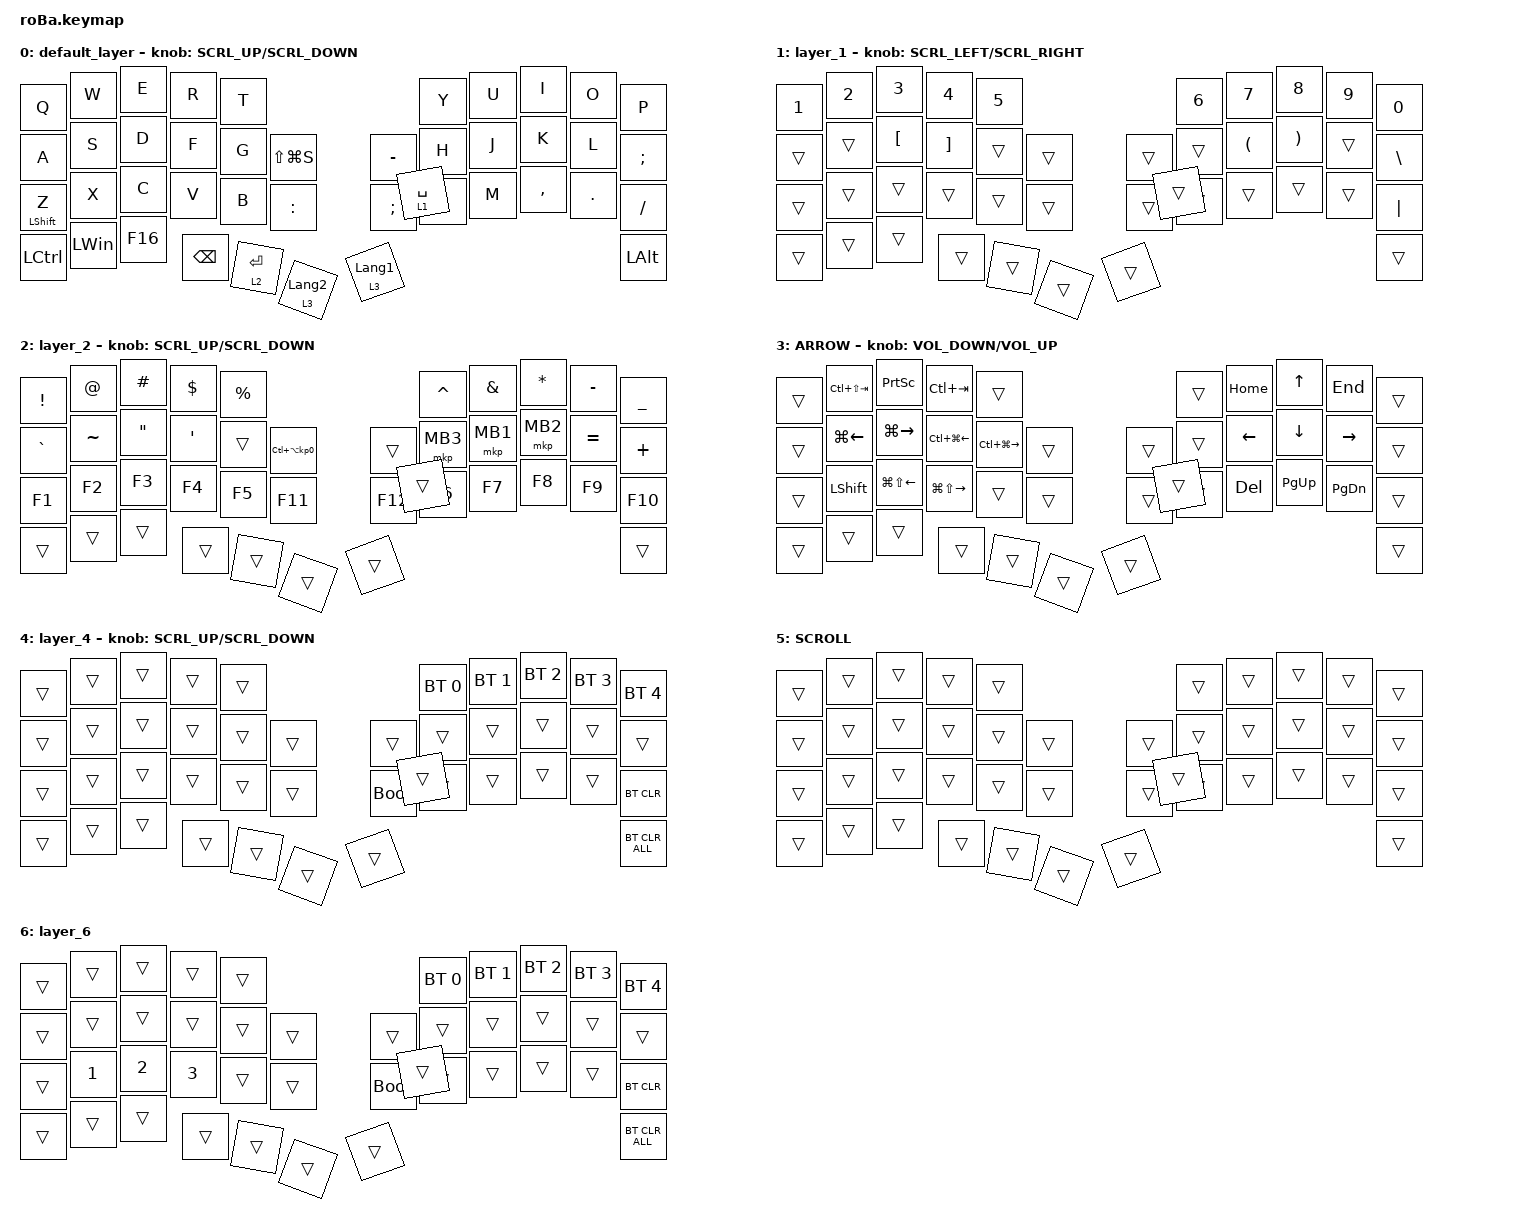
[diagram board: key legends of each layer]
#define ZMK_POINTING_DEFAULT_SCRL_VAL 100

#include <behaviors.dtsi>
#include <dt-bindings/zmk/bt.h>
#include <dt-bindings/zmk/keys.h>
#include <dt-bindings/zmk/pointing.h>

&mt {
    flavor = "balanced";
    quick-tap-ms = <0>;
};

&trackball {
    automouse-layer = <(-1)>;
    scroll-layers = <3>;

    // arrows {
    //     layers = <3>;
    //     bindings =
    //         <&kp RIGHT_ARROW>,
    //         <&kp LEFT_ARROW>,
    //         <&kp UP_ARROW>,
    //         <&kp DOWN_ARROW>;
    //     tick = <10>;
    //     wait-ms = <5>;
    //     tap-ms = <5>;
    // };
};

/ {
    combos {
        compatible = "zmk,combos";

        layer4_ESC {
            bindings = <&lt 4 ESC>;
            key-positions = <39 40>;
        };

        tab {
            bindings = <&kp TAB>;
            key-positions = <11 12>;
        };

        shift_tab {
            bindings = <&kp LS(TAB)>;
            key-positions = <12 13>;
        };

        muhennkann {
            bindings = <&to_layer_0 INT_MUHENKAN>;
            key-positions = <11 10>;
        };

        double_quotation {
            bindings = <&kp DOUBLE_QUOTES>;
            key-positions = <20 21>;
        };

        eq {
            bindings = <&kp EQUAL>;
            key-positions = <24 25>;
        };
    };

    macros {
        to_layer_0: to_layer_0 {
            compatible = "zmk,behavior-macro-one-param";
            #binding-cells = <1>;
            bindings = <&to 0 &macro_param_1to1 &kp MACRO_PLACEHOLDER>;
            label = "TO_LAYER_0";
        };
    };

    behaviors {
        encoder_scroll: encoder_scroll {
            compatible = "zmk,behavior-sensor-rotate-var";
            #sensor-binding-cells = <2>;
            bindings = <&msc>, <&msc>;

            tap-ms = <20>;
        };

        lt_to_layer_0: lt_to_layer_0 {
            compatible = "zmk,behavior-hold-tap";
            label = "LAYER_TAP_TO_0";
            bindings = <&mo>, <&to_layer_0>;

            #binding-cells = <2>;
            tapping-term-ms = <200>;
        };
    };

    keymap {
        compatible = "zmk,keymap";

        default_layer {
            bindings = <
&kp Q             &kp W         &kp E    &kp R          &kp T                                                           &kp Y        &kp U  &kp I      &kp O    &kp P
&kp A             &kp S         &kp D    &kp F          &kp G        &kp LS(LG(S))                    &kp MINUS         &kp H        &kp J  &kp K      &kp L    &kp SEMICOLON
&mt LEFT_SHIFT Z  &kp X         &kp C    &kp V          &kp B        &kp COLON                        &kp SEMICOLON     &kp N        &kp M  &kp COMMA  &kp DOT  &kp SLASH
&kp LCTRL         &kp LEFT_WIN  &kp F16  &kp BACKSPACE  &lt 2 ENTER  &lt_to_layer_0 3 LANGUAGE_2      &lt 3 LANGUAGE_1  &lt 1 SPACE                             &kp LALT
            >;

            sensor-bindings = <&encoder_scroll SCRL_UP SCRL_DOWN>;
        };

        layer_1 {
            bindings = <
&kp NUMBER_1  &kp NUMBER_2  &kp NUMBER_3      &kp NUMBER_4       &kp N5                      &kp NUMBER_6  &kp N7                &kp N8    &kp N9  &kp NUMBER_0
&trans        &trans        &kp LEFT_BRACKET  &kp RIGHT_BRACKET  &trans  &trans      &trans  &trans        &kp LEFT_PARENTHESIS  &kp RPAR  &trans  &kp BACKSLASH
&trans        &trans        &trans            &trans             &trans  &trans      &trans  &trans        &trans                &trans    &trans  &kp PIPE
&trans        &trans        &trans            &trans             &trans  &trans      &trans  &trans                                                &trans
            >;

            sensor-bindings = <&encoder_scroll SCRL_LEFT SCRL_RIGHT>;
        };

        layer_2 {
            bindings = <
&kp EXCLAMATION  &kp AT_SIGN  &kp HASH           &kp DOLLAR  &kp PERCENT                                        &kp CARET  &kp AMPERSAND  &kp ASTERISK  &kp MINUS  &kp UNDER
&kp GRAVE        &kp TILDE    &kp DOUBLE_QUOTES  &kp SQT     &trans       &kp LC(LA(KP_NUMBER_0))      &trans   &mkp MB3   &mkp MB1       &mkp MB2      &kp EQUAL  &kp PLUS
&kp F1           &kp F2       &kp F3             &kp F4      &kp F5       &kp F11                      &kp F12  &kp F6     &kp F7         &kp F8        &kp F9     &kp F10
&trans           &trans       &trans             &trans      &trans       &trans                       &trans   &trans                                             &trans
            >;

            sensor-bindings = <&encoder_scroll SCRL_UP SCRL_DOWN>;
        };

        ARROW {
            bindings = <
&trans  &kp LC(LS(TAB))     &kp PSCRN         &kp LC(TAB)              &trans                                 &trans  &kp HOME        &kp UP_ARROW    &kp END          &trans
&trans  &kp LG(LEFT_ARROW)  &kp LG(RIGHT)     &kp LC(LG(LEFT))         &kp LC(LG(RIGHT))  &trans      &trans  &trans  &kp LEFT_ARROW  &kp DOWN_ARROW  &kp RIGHT_ARROW  &trans
&trans  &kp LEFT_SHIFT      &kp LG(LS(LEFT))  &kp LG(LS(RIGHT_ARROW))  &trans             &trans      &trans  &trans  &kp DEL         &kp PAGE_UP     &kp PAGE_DOWN    &trans
&trans  &trans              &trans            &trans                   &trans             &trans      &trans  &trans                                                   &trans
            >;

            sensor-bindings = <&inc_dec_kp C_VOLUME_DOWN C_VOLUME_UP>;
        };

        layer_4 {
            bindings = <
&trans  &trans  &trans  &trans  &trans                           &bt BT_SEL 0  &bt BT_SEL 1  &bt BT_SEL 2  &bt BT_SEL 3  &bt BT_SEL 4
&trans  &trans  &trans  &trans  &trans  &trans      &trans       &trans        &trans        &trans        &trans        &trans
&trans  &trans  &trans  &trans  &trans  &trans      &bootloader  &trans        &trans        &trans        &trans        &bt BT_CLR
&trans  &trans  &trans  &trans  &trans  &trans      &trans       &trans                                                  &bt BT_CLR_ALL
            >;

            sensor-bindings = <&encoder_scroll SCRL_UP SCRL_DOWN>;
        };

        SCROLL {
            bindings = <
&trans  &trans  &trans  &trans  &trans                      &trans  &trans  &trans  &trans  &trans
&trans  &trans  &trans  &trans  &trans  &trans      &trans  &trans  &trans  &trans  &trans  &trans
&trans  &trans  &trans  &trans  &trans  &trans      &trans  &trans  &trans  &trans  &trans  &trans
&trans  &trans  &trans  &trans  &trans  &trans      &trans  &trans                          &trans
            >;
        };

        layer_6 {
            bindings = <
&trans  &trans        &trans        &trans        &trans                           &bt BT_SEL 0  &bt BT_SEL 1  &bt BT_SEL 2  &bt BT_SEL 3  &bt BT_SEL 4
&trans  &trans        &trans        &trans        &trans  &trans      &trans       &trans        &trans        &trans        &trans        &trans
&trans  &kp NUMBER_1  &kp NUMBER_2  &kp NUMBER_3  &trans  &trans      &bootloader  &trans        &trans        &trans        &trans        &bt BT_CLR
&trans  &trans        &trans        &trans        &trans  &trans      &trans       &trans                                                  &bt BT_CLR_ALL
            >;
        };
    };
};
